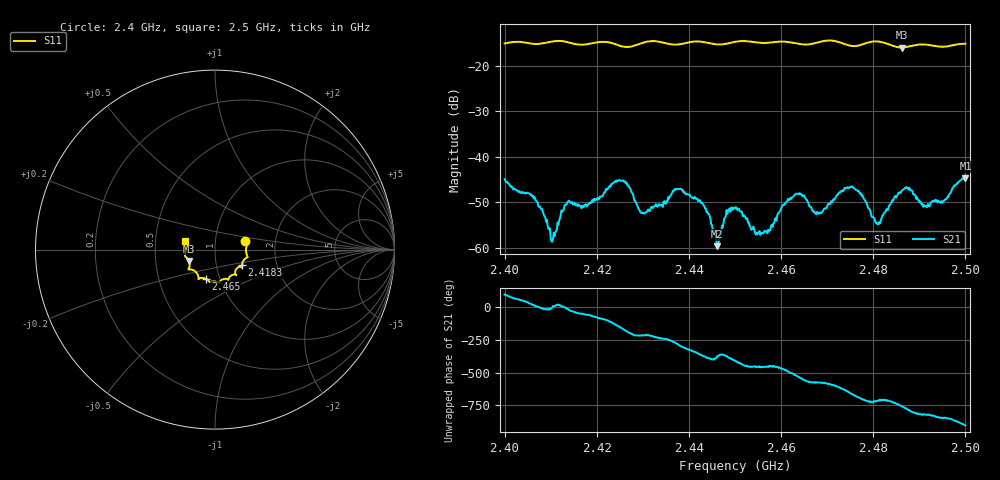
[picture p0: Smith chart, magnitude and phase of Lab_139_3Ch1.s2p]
# Hz S RI R 50
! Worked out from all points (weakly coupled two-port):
!   601 points, 2.4 GHz to 2.5 GHz, reference 50 ohm
!   highest |S21| = -44.74 dB at 2.5 GHz (marker M1); lowest = -59.7 dB at 2.4462 GHz (marker M2)
!   lowest |S11| = -16.0 dB at 2.4862 GHz (marker M3), VSWR 1.37, Z = 37.1 - j4.81 ohm
!   |S11| at or under -10 dB: start of sweep to end of sweep
!   S12 and S22 are empty: the file has one direction only
!   S11 on the Smith chart (normalised r, x): 2.4 GHz: 1.40, +0.13; 2.4183 GHz: 1.33, -0.24; 2.465 GHz: 0.86, -0.29; 2.5 GHz: 0.71, +0.07
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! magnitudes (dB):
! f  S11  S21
! 2.4 GHz  -15.1  -45.0
! 2.4063 GHz  -15.2  -49.2
! 2.4105 GHz  -14.7  -58.1
! 2.4135 GHz  -14.8  -50.3
! 2.4167 GHz  -15.4  -51.3
! 2.4183 GHz  -15.2  -50.1
! 2.4252 GHz  -15.7  -45.3
! 2.4298 GHz  -15.1  -52.4
! 2.4333 GHz  -14.7  -50.8
! 2.4382 GHz  -15.3  -47.1
! 2.4428 GHz  -14.8  -50.1
! 2.4462 GHz  -15.3  -59.7
! 2.45 GHz  -14.8  -51.4
! 2.456 GHz  -15.0  -56.8
! 2.465 GHz  -15.4  -48.5
! 2.4667 GHz  -15.2  -51.6
! 2.475 GHz  -15.6  -46.6
! 2.481 GHz  -14.7  -54.7
! 2.4833 GHz  -15.3  -51.1
! 2.4862 GHz  -16.0  -47.6
! 2.4917 GHz  -15.4  -51.1
! 2.5 GHz  -15.2  -44.7
